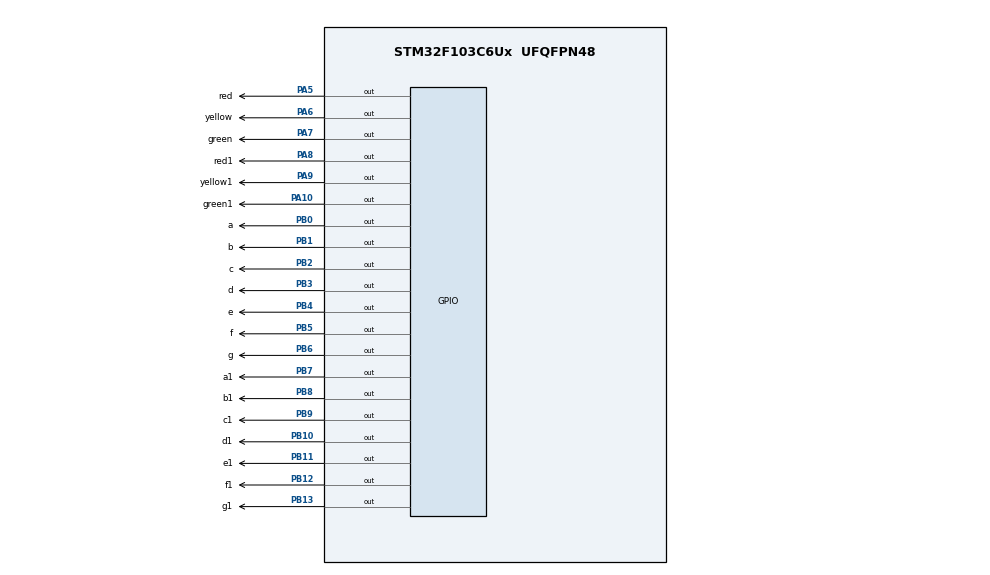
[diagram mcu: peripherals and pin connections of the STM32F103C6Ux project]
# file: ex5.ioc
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Mcu.Family=STM32F1
Mcu.Name=STM32F103C6Ux
Mcu.Package=UFQFPN48
NVIC.PriorityGroup=NVIC_PRIORITYGROUP_4
PA10.GPIO_Label=green1
PA10.Signal=GPIO_Output
PA5.GPIO_Label=red
PA5.Signal=GPIO_Output
PA6.GPIO_Label=yellow
PA6.Signal=GPIO_Output
PA7.GPIO_Label=green
PA7.Signal=GPIO_Output
PA8.GPIO_Label=red1
PA8.Signal=GPIO_Output
PA9.GPIO_Label=yellow1
PA9.Signal=GPIO_Output
PB0.GPIO_Label=a
PB0.Signal=GPIO_Output
PB1.GPIO_Label=b
PB1.Signal=GPIO_Output
PB10.GPIO_Label=d1
PB10.Signal=GPIO_Output
PB11.GPIO_Label=e1
PB11.Signal=GPIO_Output
PB12.GPIO_Label=f1
PB12.Signal=GPIO_Output
PB13.GPIO_Label=g1
PB13.Signal=GPIO_Output
PB2.GPIO_Label=c
PB2.Signal=GPIO_Output
PB3.GPIO_Label=d
PB3.Signal=GPIO_Output
PB4.GPIO_Label=e
PB4.Signal=GPIO_Output
PB5.GPIO_Label=f
PB5.Signal=GPIO_Output
PB6.GPIO_Label=g
PB6.Signal=GPIO_Output
PB7.GPIO_Label=a1
PB7.Signal=GPIO_Output
PB8.GPIO_Label=b1
PB8.Signal=GPIO_Output
PB9.GPIO_Label=c1
PB9.Signal=GPIO_Output
ProjectManager.HeapSize=0x200
ProjectManager.StackSize=0x400
ProjectManager.TargetToolchain=STM32CubeIDE
RCC.APB1Freq_Value=8000000
RCC.APB2Freq_Value=8000000
VP_SYS_VS_ND.Mode=No_Debug
board=custom

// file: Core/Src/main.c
/* USER CODE BEGIN Header */
/**
  ******************************************************************************
  * @file           : main.c
  * @brief          : Main program body
  ******************************************************************************
  * @attention
  *
  * <h2><center>&copy; Copyright (c) 2022 STMicroelectronics.
  * All rights reserved.</center></h2>
  *
  * This software component is licensed by ST under BSD 3-Clause license,
  * the "License"; You may not use this file except in compliance with the
  * License. You may obtain a copy of the License at:
  *                        opensource.org/licenses/BSD-3-Clause
  *
  ******************************************************************************
  */
/* USER CODE END Header */
#include "main.h"

void SystemClock_Config(void);
static void MX_GPIO_Init(void);

int main(void)
{

  /* MCU Configuration--------------------------------------------------------*/

  /* Reset of all peripherals, Initializes the Flash interface and the Systick. */
  HAL_Init();

  /* Configure the system clock */
  SystemClock_Config();

  /* Initialize all configured peripherals */
  MX_GPIO_Init();
  /* USER CODE BEGIN 2 */
  // hàm điều kiển led 7 đoạn bên trên
    void display7SEG(int num){
   	  HAL_GPIO_WritePin ( a_GPIO_Port , a_Pin , GPIO_PIN_RESET ) ;
   	  HAL_GPIO_WritePin ( b_GPIO_Port , b_Pin , GPIO_PIN_RESET ) ;
   	  HAL_GPIO_WritePin ( c_GPIO_Port , c_Pin , GPIO_PIN_RESET ) ;
   	  HAL_GPIO_WritePin ( d_GPIO_Port , d_Pin , GPIO_PIN_RESET ) ;
   	  HAL_GPIO_WritePin ( e_GPIO_Port , e_Pin , GPIO_PIN_RESET ) ;
   	  HAL_GPIO_WritePin ( f_GPIO_Port , f_Pin , GPIO_PIN_RESET ) ;
   	  HAL_GPIO_WritePin ( g_GPIO_Port , g_Pin , GPIO_PIN_RESET ) ;
   	  if(num == 1 || num == 4)  HAL_GPIO_WritePin ( a_GPIO_Port , a_Pin , GPIO_PIN_SET ) ;
   	  if(num == 5 || num == 6)  HAL_GPIO_WritePin ( b_GPIO_Port , b_Pin , GPIO_PIN_SET ) ;
   	  if(num == 2)  HAL_GPIO_WritePin ( c_GPIO_Port , c_Pin , GPIO_PIN_SET ) ;
   	  if(num == 1 || num == 4 || num == 7)  HAL_GPIO_WritePin ( d_GPIO_Port , d_Pin , GPIO_PIN_SET ) ;
   	  if(num != 0 && num != 2 && num != 6 && num != 8)  HAL_GPIO_WritePin ( e_GPIO_Port , e_Pin , GPIO_PIN_SET ) ;
   	  if(num == 1 || num == 2 || num == 3 || num == 7)  HAL_GPIO_WritePin ( f_GPIO_Port , f_Pin , GPIO_PIN_SET ) ;
   	  if(num == 0 || num == 1 || num == 7)  HAL_GPIO_WritePin ( g_GPIO_Port , g_Pin , GPIO_PIN_SET ) ;
     }
  // hàm điều kiển led 7 đoạn bên phải
     void display7SEG1(int num){
     	  HAL_GPIO_WritePin ( a1_GPIO_Port , a1_Pin , GPIO_PIN_RESET ) ;
     	  HAL_GPIO_WritePin ( b1_GPIO_Port , b1_Pin , GPIO_PIN_RESET ) ;
     	  HAL_GPIO_WritePin ( c1_GPIO_Port , c1_Pin , GPIO_PIN_RESET ) ;
     	  HAL_GPIO_WritePin ( d1_GPIO_Port , d1_Pin , GPIO_PIN_RESET ) ;
     	  HAL_GPIO_WritePin ( e1_GPIO_Port , e1_Pin , GPIO_PIN_RESET ) ;
     	  HAL_GPIO_WritePin ( f1_GPIO_Port , f1_Pin , GPIO_PIN_RESET ) ;
     	  HAL_GPIO_WritePin ( g1_GPIO_Port , g1_Pin , GPIO_PIN_RESET ) ;
     	  if(num == 1 || num == 4)  HAL_GPIO_WritePin ( a1_GPIO_Port , a1_Pin , GPIO_PIN_SET ) ;
     	  if(num == 5 || num == 6)  HAL_GPIO_WritePin ( b1_GPIO_Port , b1_Pin , GPIO_PIN_SET ) ;
     	  if(num == 2)  HAL_GPIO_WritePin ( c1_GPIO_Port , c1_Pin , GPIO_PIN_SET ) ;
     	  if(num == 1 || num == 4 || num == 7)  HAL_GPIO_WritePin ( d1_GPIO_Port , d1_Pin , GPIO_PIN_SET ) ;
     	  if(num != 0 && num != 2 && num != 6 && num != 8)  HAL_GPIO_WritePin ( e1_GPIO_Port , e1_Pin , GPIO_PIN_SET ) ;
     	  if(num == 1 || num == 2 || num == 3 || num == 7)  HAL_GPIO_WritePin ( f1_GPIO_Port , f1_Pin , GPIO_PIN_SET ) ;
     	  if(num == 0 || num == 1 || num == 7)  HAL_GPIO_WritePin ( g1_GPIO_Port , g1_Pin , GPIO_PIN_SET ) ;
       }

       // đèn sáng : 1 = đỏ, 2 = xanh , 3 = vàng
       int led7_1 = 2; // 1 led sẽ bắt đầu đèn xanh
       int led7_2 = 1; // 1 led sẽ bắt đầu đèn đỏ
       // số giây mỗi đèn : đỏ 5 , vàng 2 , xanh 3
       int counter1 = 3; // giây đèn xanh
       int counter2 = 5; // giây đèn đỏ
       // tương tự như led 7 đoạn
       int status1 = 2;
       int status2 = 1;
       //red1 là số giây của đèn led1, tương tự vàng, xanh
       int red1 = 0;
       int yellow1 = 0;
       int green1 = 0;
       int red2 = 0;
       int yellow2 = 0;
       int green2 = 0;
  /* USER CODE END 2 */

  /* Infinite loop */
  while (1)
  {
	  // đèn đỏ sáng
	  if(status1 == 1){
		  HAL_GPIO_WritePin ( yellow_GPIO_Port , yellow_Pin , GPIO_PIN_SET ) ;
		  HAL_GPIO_WritePin ( green_GPIO_Port , green_Pin , GPIO_PIN_SET ) ;
		  HAL_GPIO_WritePin ( red_GPIO_Port , red_Pin , GPIO_PIN_RESET ) ;
		  red1++;
	  // nếu đèn đỏ hết 5 giây chuyển qua đèn xanh
		  if(red1 == 5){
			  red1 = 0;
			  status1 = 2;
		  }
	  }
	  else if(status1 == 3){
		  HAL_GPIO_WritePin ( yellow_GPIO_Port , yellow_Pin , GPIO_PIN_RESET ) ;
		  HAL_GPIO_WritePin ( green_GPIO_Port , green_Pin , GPIO_PIN_SET ) ;
		  HAL_GPIO_WritePin ( red_GPIO_Port , red_Pin , GPIO_PIN_SET ) ;
		  yellow1++;
		  if(yellow1 == 2){
			  yellow1 = 0;
			  status1 = 1;
		  }
	  }
	  else if(status1 == 2){
		  HAL_GPIO_WritePin ( yellow_GPIO_Port , yellow_Pin , GPIO_PIN_SET ) ;
		  HAL_GPIO_WritePin ( green_GPIO_Port , green_Pin , GPIO_PIN_RESET ) ;
		  HAL_GPIO_WritePin ( red_GPIO_Port , red_Pin , GPIO_PIN_SET ) ;
		  green1++;
		  if(green1 == 3){
			  green1 = 0;
			  status1 = 3;
		  }
	  }

	  if(status2 == 1){
		  HAL_GPIO_WritePin ( yellow1_GPIO_Port , yellow1_Pin , GPIO_PIN_SET ) ;
		  HAL_GPIO_WritePin ( green1_GPIO_Port , green1_Pin , GPIO_PIN_SET ) ;
		  HAL_GPIO_WritePin ( red1_GPIO_Port , red1_Pin , GPIO_PIN_RESET ) ;
		  red2++;
		  if(red2 == 5){
			  red2 = 0;
			  status2 = 2;
		  }
	  }
	  else if(status2 == 3){
		  HAL_GPIO_WritePin ( yellow1_GPIO_Port , yellow1_Pin , GPIO_PIN_RESET ) ;
		  HAL_GPIO_WritePin ( green1_GPIO_Port , green1_Pin , GPIO_PIN_SET ) ;
		  HAL_GPIO_WritePin ( red1_GPIO_Port , red1_Pin , GPIO_PIN_SET ) ;
		  yellow2++;
		  if(yellow2 == 2){
			  yellow2 = 0;
			  status2 = 1;
		  }
			}
	  else if(status2 == 2){
		  HAL_GPIO_WritePin ( yellow1_GPIO_Port , yellow1_Pin , GPIO_PIN_SET ) ;
		  HAL_GPIO_WritePin ( green1_GPIO_Port , green1_Pin , GPIO_PIN_RESET ) ;
		  HAL_GPIO_WritePin ( red1_GPIO_Port , red1_Pin , GPIO_PIN_SET ) ;
		  green2++;
		  if(green2 == 3){
			  green2 = 0;
			  status2 = 3;
		  }
	  }
	if(led7_1 == 1){
		display7SEG(counter1);
		counter1--;
		if(counter1 == 0){
			counter1 = 3;
			led7_1 = 2;
		}
	}
	else if(led7_1 == 2){
			display7SEG(counter1);
			counter1--;
			if(counter1 == 0){
				counter1 = 2;
				led7_1 = 3;
			}
	}
	else if(led7_1 == 3){
			display7SEG(counter1);
			counter1--;
			if(counter1 == 0){
				counter1 = 5;
				led7_1 = 1;
			}
	}

	  if(led7_2 == 1){
				display7SEG1(counter2);
				counter2--;
				if(counter2 == 0){
					counter2 = 3;
					led7_2 = 2;
				}
	  }
	  else if(led7_2 == 2){
				display7SEG1(counter2);
				counter2--;
				if(counter2 == 0){
					counter2 = 2;
					led7_2 = 3;
				}
	  }
	  else if(led7_2 == 3){
				display7SEG1(counter2);
				counter2--;
				if(counter2 == 0){
					counter2 = 5;
					led7_2 = 1;
				}
	  }
// độ trễ 1 giây
	HAL_Delay (1000) ;
  }
}

void SystemClock_Config(void)
{
  RCC_OscInitTypeDef RCC_OscInitStruct = {0};
  RCC_ClkInitTypeDef RCC_ClkInitStruct = {0};

  /** Initializes the RCC Oscillators according to the specified parameters
  * in the RCC_OscInitTypeDef structure.
  */
  RCC_OscInitStruct.OscillatorType = RCC_OSCILLATORTYPE_HSI;
  RCC_OscInitStruct.HSIState = RCC_HSI_ON;
  RCC_OscInitStruct.HSICalibrationValue = RCC_HSICALIBRATION_DEFAULT;
  RCC_OscInitStruct.PLL.PLLState = RCC_PLL_NONE;
  if (HAL_RCC_OscConfig(&RCC_OscInitStruct) != HAL_OK)
  {
    Error_Handler();
  }
  /** Initializes the CPU, AHB and APB buses clocks
  */
  RCC_ClkInitStruct.ClockType = RCC_CLOCKTYPE_HCLK|RCC_CLOCKTYPE_SYSCLK
                              |RCC_CLOCKTYPE_PCLK1|RCC_CLOCKTYPE_PCLK2;
  RCC_ClkInitStruct.SYSCLKSource = RCC_SYSCLKSOURCE_HSI;
  RCC_ClkInitStruct.AHBCLKDivider = RCC_SYSCLK_DIV1;
  RCC_ClkInitStruct.APB1CLKDivider = RCC_HCLK_DIV1;
  RCC_ClkInitStruct.APB2CLKDivider = RCC_HCLK_DIV1;

  if (HAL_RCC_ClockConfig(&RCC_ClkInitStruct, FLASH_LATENCY_0) != HAL_OK)
  {
    Error_Handler();
  }
}

static void MX_GPIO_Init(void)
{
  GPIO_InitTypeDef GPIO_InitStruct = {0};

  /* GPIO Ports Clock Enable */
  __HAL_RCC_GPIOA_CLK_ENABLE();
  __HAL_RCC_GPIOB_CLK_ENABLE();

  /*Configure GPIO pin Output Level */
  HAL_GPIO_WritePin(GPIOA, red_Pin|yellow_Pin|green_Pin|red1_Pin
                          |yellow1_Pin|green1_Pin, GPIO_PIN_RESET);

  /*Configure GPIO pin Output Level */
  HAL_GPIO_WritePin(GPIOB, a_Pin|b_Pin|c_Pin|d1_Pin
                          |e1_Pin|f1_Pin|g1_Pin|d_Pin
                          |e_Pin|f_Pin|g_Pin|a1_Pin
                          |b1_Pin|c1_Pin, GPIO_PIN_RESET);

  /*Configure GPIO pins : red_Pin yellow_Pin green_Pin red1_Pin
                           yellow1_Pin green1_Pin */
  GPIO_InitStruct.Pin = red_Pin|yellow_Pin|green_Pin|red1_Pin
                          |yellow1_Pin|green1_Pin;
  GPIO_InitStruct.Mode = GPIO_MODE_OUTPUT_PP;
  GPIO_InitStruct.Pull = GPIO_NOPULL;
  GPIO_InitStruct.Speed = GPIO_SPEED_FREQ_LOW;
  HAL_GPIO_Init(GPIOA, &GPIO_InitStruct);

  /*Configure GPIO pins : a_Pin b_Pin c_Pin d1_Pin
                           e1_Pin f1_Pin g1_Pin d_Pin
                           e_Pin f_Pin g_Pin a1_Pin
                           b1_Pin c1_Pin */
  GPIO_InitStruct.Pin = a_Pin|b_Pin|c_Pin|d1_Pin
                          |e1_Pin|f1_Pin|g1_Pin|d_Pin
                          |e_Pin|f_Pin|g_Pin|a1_Pin
                          |b1_Pin|c1_Pin;
  GPIO_InitStruct.Mode = GPIO_MODE_OUTPUT_PP;
  GPIO_InitStruct.Pull = GPIO_NOPULL;
  GPIO_InitStruct.Speed = GPIO_SPEED_FREQ_LOW;
  HAL_GPIO_Init(GPIOB, &GPIO_InitStruct);

}

void Error_Handler(void)
{
  __disable_irq();
  while (1)
  {
  }
}

/************************ (C) COPYRIGHT STMicroelectronics *****END OF FILE****/
